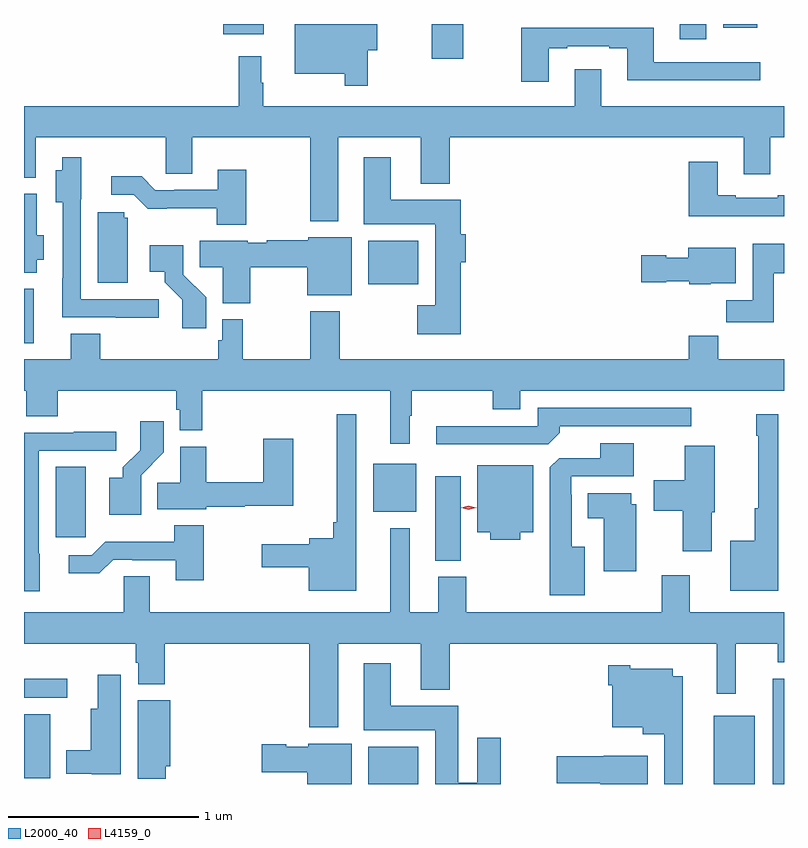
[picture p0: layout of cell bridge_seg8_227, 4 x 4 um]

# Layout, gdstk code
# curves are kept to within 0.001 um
import gdstk
lib = gdstk.Library(unit=1e-6, precision=1e-09)
def R(c, l, rs):  # rectangles x0, y0, x1, y1
    for r in rs: c.add(gdstk.rectangle(r[:2], r[2:], *l))
def P(c, l, *ps):  # polygons
    for p in ps: c.add(gdstk.Polygon(p, *l))
L2000_40 = (2000, 40)
L4159_0 = (4159, 0)

bridge_seg8_227 = lib.new_cell('bridge_seg8_227')
R(bridge_seg8_227, L2000_40, [(125.717,1105.105,125.98,1105.3), (127.535,1105.105,127.75,1105.465), (127.844,1105.105,127.904,1105.658), (123.904,1105.136,124.042,1105.471), (123.904,1105.56,124.132,1105.658), (126.068,1106.281,126.202,1106.725), (124.07,1106.403,124.228,1106.774), (125.741,1106.537,125.968,1106.791), (123.904,1107.426,123.955,1107.711), (125.717,1107.734,125.98,1107.964), (126.05,1108.923,126.216,1109.105), (127.355,1109.025,127.495,1109.105), (124.952,1109.051,125.167,1109.105), (127.583,1109.084,127.762,1109.105)])
P(bridge_seg8_227, L2000_40, [(125.713,1108.966),(125.764,1108.966),(125.764,1109.105),(125.33,1109.105),(125.33,1108.844),(125.592,1108.844),(125.592,1108.779),(125.713,1108.779)],
  [(126.667,1108.977),(126.763,1108.977),(126.763,1108.989),(126.983,1108.989),(126.983,1108.977),(127.079,1108.977),(127.079,1108.808),(127.78,1108.808),(127.78,1108.905),(127.219,1108.905),(127.219,1109.086),(126.52,1109.086),(126.52,1108.8),(126.667,1108.8)],
  [(125.557,1108.508),(125.993,1108.508),(125.993,1108.265),(126.146,1108.265),(126.146,1108.508),(127.691,1108.508),(127.691,1108.314),(127.831,1108.314),(127.831,1108.508),(127.904,1108.508),(127.904,1108.672),(126.943,1108.672),(126.943,1108.867),(126.803,1108.867),(126.803,1108.672),(125.164,1108.672),(125.164,1108.796),(125.152,1108.796),(125.152,1108.936),(125.035,1108.936),(125.035,1108.672),(123.904,1108.672),(123.904,1108.297),(123.967,1108.297),(123.967,1108.508),(124.65,1108.508),(124.65,1108.318),(124.789,1108.318),(124.789,1108.508),(125.41,1108.508),(125.41,1108.067),(125.557,1108.067)],
  [(126.203,1107.851),(126.229,1107.851),(126.229,1107.998),(126.203,1107.998),(126.203,1108.18),(125.833,1108.18),(125.833,1108.405),(125.693,1108.405),(125.693,1108.052),(126.068,1108.052),(126.068,1107.625),(125.973,1107.625),(125.973,1107.473),(126.203,1107.473)],
  [(124.612,1107.657),(124.203,1107.657),(124.203,1108.182),(124.204,1108.182),(124.204,1108.405),(124.106,1108.405),(124.106,1108.336),(124.07,1108.336),(124.07,1108.166),(124.107,1108.166),(124.107,1107.767),(124.106,1107.767),(124.106,1107.561),(124.387,1107.561),(124.387,1107.559),(124.612,1107.559)],
  [(127.904,1108.204),(127.871,1108.204),(127.871,1108.191),(127.651,1108.191),(127.651,1108.204),(127.555,1108.204),(127.555,1108.381),(127.403,1108.381),(127.403,1108.094),(127.904,1108.094)],
  [(125.073,1108.339),(124.925,1108.339),(124.925,1108.233),(124.696,1108.233),(124.696,1108.23),(124.596,1108.23),(124.523,1108.303),(124.362,1108.303),(124.362,1108.206),(124.482,1108.206),(124.555,1108.133),(124.918,1108.134),(124.918,1108.049),(125.073,1108.049)],
  [(123.97,1107.863),(124.009,1107.863),(124.009,1107.993),(123.97,1107.993),(123.97,1108.212),(123.904,1108.212),(123.904,1107.796),(123.97,1107.796)],
  [(124.45,1108.086),(124.431,1108.086),(124.431,1108.113),(124.292,1108.113),(124.292,1107.742),(124.45,1107.742)],
  [(125.094,1107.826),(125.396,1107.826),(125.396,1107.677),(125.629,1107.677),(125.629,1107.982),(125.4,1107.982),(125.4,1107.968),(125.182,1107.968),(125.182,1107.955),(125.082,1107.955),(125.082,1107.964),(124.828,1107.964),(124.828,1107.826),(124.949,1107.826),(124.949,1107.635),(125.094,1107.635)],
  [(127.849,1107.793),(127.904,1107.793),(127.904,1107.949),(127.739,1107.949),(127.739,1107.652),(127.6,1107.652),(127.6,1107.534),(127.849,1107.534)],
  [(124.862,1107.666),(124.743,1107.785),(124.743,1107.94),(124.566,1107.94),(124.566,1107.8),(124.646,1107.8),(124.646,1107.745),(124.737,1107.655),(124.737,1107.504),(124.862,1107.504)],
  [(127.518,1107.74),(127.651,1107.74),(127.651,1107.928),(127.4,1107.928),(127.4,1107.874),(127.284,1107.874),(127.284,1107.887),(127.152,1107.887),(127.152,1107.745),(127.284,1107.745),(127.284,1107.752),(127.404,1107.752),(127.404,1107.734),(127.518,1107.734)],
  [(125.935,1107.044),(125.945,1107.044),(125.945,1107.176),(126.37,1107.176),(126.37,1107.077),(126.517,1107.077),(126.517,1107.176),(127.904,1107.176),(127.904,1107.34),(127.559,1107.34),(127.559,1107.464),(127.403,1107.464),(127.403,1107.34),(125.565,1107.34),(125.565,1107.592),(125.41,1107.592),(125.41,1107.34),(125.056,1107.34),(125.056,1107.55),(124.947,1107.55),(124.947,1107.441),(124.927,1107.441),(124.927,1107.34),(124.304,1107.34),(124.304,1107.476),(124.151,1107.476),(124.151,1107.34),(123.904,1107.34),(123.904,1107.176),(123.917,1107.176),(123.917,1107.04),(124.082,1107.04),(124.082,1107.176),(124.705,1107.176),(124.705,1107.075),(124.725,1107.075),(124.725,1106.966),(124.841,1106.966),(124.841,1107.176),(125.831,1107.176),(125.831,1106.895),(125.935,1106.895)],
  [(126.725,1106.954),(126.725,1106.988),(127.417,1106.988),(127.417,1107.084),(126.609,1107.084),(126.609,1106.988),(126.075,1106.988),(126.075,1106.892),(126.663,1106.892)],
  [(125.653,1107.052),(125.549,1107.052),(125.549,1106.482),(125.532,1106.482),(125.532,1106.399),(125.406,1106.399),(125.406,1106.368),(125.154,1106.368),(125.154,1106.246),(125.402,1106.246),(125.402,1106.123),(125.653,1106.123)],
  [(127.873,1107.052),(127.759,1107.052),(127.759,1106.939),(127.769,1106.939),(127.769,1106.556),(127.751,1106.556),(127.751,1106.386),(127.622,1106.386),(127.622,1106.123),(127.873,1106.123)],
  [(124.521,1106.731),(124.64,1106.85),(124.64,1107.013),(124.515,1107.013),(124.515,1106.861),(124.424,1106.771),(124.424,1106.716),(124.352,1106.716),(124.352,1106.523),(124.521,1106.523)],
  [(123.988,1106.316),(123.981,1106.316),(123.981,1106.859),(124.39,1106.859),(124.39,1106.958),(124.165,1106.958),(124.165,1106.955),(123.904,1106.955),(123.904,1106.12),(123.988,1106.12)],
  [(124.864,1106.563),(125.066,1106.563),(125.066,1106.57),(125.32,1106.57),(125.32,1106.923),(125.162,1106.923),(125.162,1106.692),(124.864,1106.692),(124.864,1106.881),(124.727,1106.881),(124.727,1106.69),(124.606,1106.69),(124.606,1106.552),(124.864,1106.552)],
  [(126.856,1106.353),(126.787,1106.353),(126.787,1106.627),(126.783,1106.627),(126.783,1106.724),(127.114,1106.724),(127.114,1106.899),(126.938,1106.899),(126.938,1106.82),(126.72,1106.82),(126.671,1106.771),(126.671,1106.099),(126.856,1106.099)],
  [(127.525,1106.535),(127.54,1106.535),(127.54,1106.884),(127.382,1106.884),(127.382,1106.704),(127.218,1106.704),(127.218,1106.542),(127.37,1106.542),(127.37,1106.331),(127.525,1106.331)],
  [(126.517,1106.429),(126.583,1106.429),(126.583,1106.782),(126.29,1106.782),(126.29,1106.429),(126.359,1106.429),(126.359,1106.39),(126.517,1106.39)],
  [(127.126,1106.577),(127.099,1106.577),(127.099,1106.635),(126.872,1106.635),(126.872,1106.504),(126.956,1106.504),(126.956,1106.225),(127.126,1106.225)],
  [(124.851,1106.467),(124.696,1106.467),(124.696,1106.381),(124.331,1106.381),(124.26,1106.31),(124.14,1106.31),(124.14,1106.213),(124.301,1106.213),(124.374,1106.286),(124.474,1106.286),(124.474,1106.283),(124.703,1106.283),(124.703,1106.178),(124.851,1106.178)],
  [(125.557,1105.844),(125.993,1105.844),(125.993,1105.601),(126.146,1105.601),(126.146,1105.844),(127.549,1105.844),(127.549,1105.581),(127.65,1105.581),(127.65,1105.844),(127.871,1105.844),(127.871,1105.745),(127.904,1105.745),(127.904,1106.008),(127.408,1106.008),(127.408,1106.203),(127.261,1106.203),(127.261,1106.008),(126.231,1106.008),(126.231,1106.196),(126.083,1106.196),(126.083,1106.008),(125.935,1106.008),(125.935,1106.452),(125.831,1106.452),(125.831,1106.008),(124.567,1106.008),(124.567,1106.198),(124.428,1106.198),(124.428,1106.008),(123.904,1106.008),(123.904,1105.844),(124.493,1105.844),(124.493,1105.743),(124.505,1105.743),(124.505,1105.631),(124.646,1105.631),(124.646,1105.844),(125.405,1105.844),(125.405,1105.403),(125.557,1105.403)],
  [(126.412,1105.348),(126.29,1105.348),(126.29,1105.112),(126.19,1105.112),(126.19,1105.516),(125.833,1105.516),(125.833,1105.741),(125.693,1105.741),(125.693,1105.388),(126.068,1105.388),(126.068,1105.105),(126.412,1105.105)],
  [(127.372,1105.672),(127.318,1105.672),(127.318,1105.711),(127.095,1105.711),(127.095,1105.729),(126.98,1105.729),(126.98,1105.625),(127.001,1105.625),(127.001,1105.403),(127.16,1105.403),(127.16,1105.367),(127.275,1105.367),(127.275,1105.105),(127.372,1105.105)],
  [(124.414,1105.681),(124.292,1105.681),(124.292,1105.501),(124.256,1105.501),(124.256,1105.282),(124.127,1105.282),(124.127,1105.16),(124.26,1105.16),(124.26,1105.157),(124.414,1105.157)],
  [(124.649,1105.199),(124.675,1105.199),(124.675,1105.546),(124.502,1105.546),(124.502,1105.132),(124.649,1105.132)],
  [(125.629,1105.318),(125.4,1105.318),(125.4,1105.3),(125.283,1105.3),(125.283,1105.313),(125.154,1105.313),(125.154,1105.166),(125.396,1105.166),(125.396,1105.105),(125.629,1105.105)],
  [(127.186,1105.255),(126.954,1105.255),(126.954,1105.25),(126.708,1105.25),(126.708,1105.108),(126.938,1105.108),(126.938,1105.105),(127.186,1105.105)])
P(bridge_seg8_227, L4159_0, [(126.243,1106.549),(126.204,1106.559),(126.203,1106.559),(126.204,1106.559),(126.243,1106.569),(126.283,1106.559),(126.283,1106.559),(126.283,1106.559)])

lib.write_gds('bridge_seg8_227.gds')
